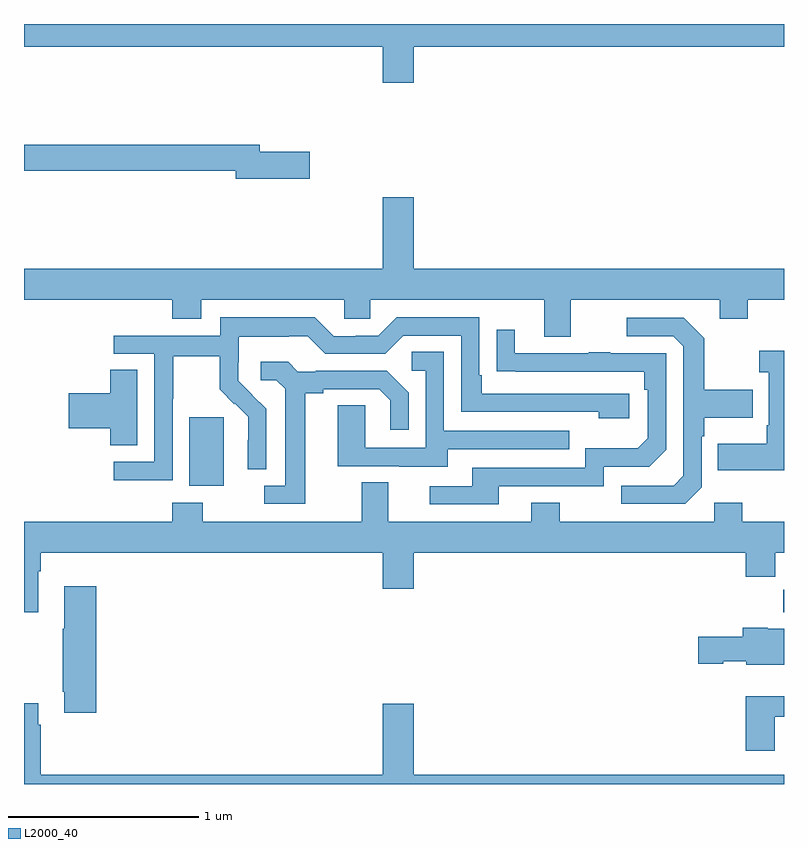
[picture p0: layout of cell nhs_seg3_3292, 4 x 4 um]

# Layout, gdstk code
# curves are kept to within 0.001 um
import gdstk
lib = gdstk.Library(unit=1e-6, precision=1e-09)
def R(c, l, rs):  # rectangles x0, y0, x1, y1
    for r in rs: c.add(gdstk.rectangle(r[:2], r[2:], *l))
def P(c, l, *ps):  # polygons
    for p in ps: c.add(gdstk.Polygon(p, *l))
L2000_40 = (2000, 40)

nhs_seg3_3292 = lib.new_cell('nhs_seg3_3292')
R(nhs_seg3_3292, L2000_40, [(286.996,667.304,287,667.423), (283.871,667.97,284.05,668.331)])
P(nhs_seg3_3292, L2000_40, [(285.052,670.28),(287,670.28),(287,670.4),(283,670.4),(283,670.28),(284.888,670.28),(284.888,670.092),(285.052,670.092)],
  [(284.503,669.728),(284.242,669.728),(284.242,669.764),(283,669.764),(283,669.628),(284.114,669.628),(284.114,669.586),(284.503,669.586)],
  [(285.877,668.948),(286.661,668.948),(286.661,668.849),(286.809,668.849),(286.809,668.948),(287,668.948),(287,669.112),(285.052,669.112),(285.052,669.487),(284.888,669.487),(284.888,669.112),(283,669.112),(283,668.948),(283.781,668.948),(283.781,668.849),(283.933,668.849),(283.933,668.948),(284.685,668.948),(284.685,668.85),(284.823,668.85),(284.823,668.948),(285.737,668.948),(285.737,668.754),(285.877,668.754)],
  [(283.782,668.428),(283.785,668.428),(283.785,668.652),(284.029,668.652),(284.029,668.477),(284.106,668.4),(284.109,668.403),(284.18,668.333),(284.18,668.21),(284.178,668.21),(284.178,668.056),(284.274,668.056),(284.274,668.374),(284.128,668.522),(284.128,668.619),(284.13,668.619),(284.13,668.753),(284.393,668.753),(284.393,668.757),(284.493,668.757),(284.586,668.664),(284.901,668.664),(284.997,668.76),(285.3,668.76),(285.3,668.358),(286.025,668.358),(286.025,668.324),(286.186,668.324),(286.186,668.454),(285.409,668.454),(285.409,668.551),(285.396,668.551),(285.396,668.856),(284.961,668.856),(284.865,668.76),(284.747,668.76),(284.747,668.757),(284.631,668.757),(284.531,668.857),(284.034,668.857),(284.034,668.76),(283.473,668.76),(283.473,668.664),(283.686,668.664),(283.686,668.097),(283.473,668.097),(283.473,667.999),(283.782,667.999)],
  [(286.566,667.962),(286.566,668.231),(286.579,668.231),(286.579,668.327),(286.835,668.327),(286.835,668.475),(286.579,668.475),(286.579,668.747),(286.473,668.853),(286.173,668.853),(286.173,668.757),(286.416,668.757),(286.47,668.703),(286.47,668.022),(286.419,667.971),(286.143,667.971),(286.143,667.875),(286.479,667.875)],
  [(285.499,667.968),(286.05,667.968),(286.05,668.07),(286.29,668.07),(286.38,668.16),(286.38,668.667),(286.085,668.667),(286.085,668.672),(285.973,668.672),(285.973,668.667),(285.583,668.667),(285.583,668.791),(285.487,668.791),(285.487,668.572),(286.264,668.571),(286.264,668.474),(286.284,668.474),(286.284,668.22),(286.231,668.167),(285.954,668.167),(285.954,668.064),(285.359,668.064),(285.359,667.968),(285.135,667.968),(285.135,667.872),(285.499,667.872)],
  [(287,668.68),(286.869,668.68),(286.869,668.567),(286.92,668.567),(286.92,668.287),(286.908,668.287),(286.908,668.191),(286.651,668.191),(286.651,668.051),(287,668.051)],
  [(285.229,668.163),(285.869,668.163),(285.869,668.259),(285.21,668.259),(285.21,668.675),(285.042,668.675),(285.042,668.574),(285.114,668.574),(285.114,668.169),(284.796,668.169),(284.796,668.393),(284.651,668.393),(284.651,668.073),(284.975,668.073),(284.975,668.069),(285.229,668.069)],
  [(284.479,668.456),(284.575,668.456),(284.575,668.478),(284.87,668.478),(284.927,668.421),(284.927,668.265),(285.024,668.265),(285.024,668.458),(284.908,668.574),(284.536,668.574),(284.536,668.571),(284.442,668.571),(284.39,668.623),(284.247,668.623),(284.247,668.526),(284.328,668.526),(284.375,668.479),(284.375,667.971),(284.265,667.971),(284.265,667.875),(284.479,667.875)],
  [(283.597,668.579),(283.454,668.579),(283.454,668.456),(283.236,668.456),(283.236,668.273),(283.454,668.273),(283.454,668.182),(283.597,668.182)],
  [(283.075,667.52),(283.088,667.52),(283.088,667.616),(284.888,667.616),(284.888,667.428),(285.052,667.428),(285.052,667.616),(286.799,667.616),(286.799,667.492),(286.955,667.492),(286.955,667.616),(287,667.616),(287,667.78),(286.779,667.78),(286.779,667.879),(286.632,667.879),(286.632,667.78),(285.819,667.78),(285.819,667.879),(285.671,667.879),(285.671,667.78),(284.917,667.78),(284.917,667.988),(284.777,667.988),(284.777,667.78),(283.941,667.78),(283.941,667.879),(283.781,667.879),(283.781,667.78),(283,667.78),(283,667.305),(283.075,667.305)],
  [(283.379,667.441),(283.211,667.441),(283.211,667.217),(283.204,667.217),(283.204,666.886),(283.211,666.886),(283.211,666.774),(283.379,666.774)],
  [(287,667.216),(286.914,667.216),(286.914,667.222),(286.784,667.222),(286.784,667.176),(286.548,667.176),(286.548,667.034),(286.68,667.034),(286.68,667.046),(286.8,667.046),(286.8,667.028),(287,667.028)],
  [(286.951,666.753),(287,666.753),(287,666.862),(286.799,666.862),(286.799,666.576),(286.951,666.576)],
  [(287,666.448),(285.052,666.448),(285.052,666.823),(284.888,666.823),(284.888,666.448),(283.088,666.448),(283.088,666.713),(283.075,666.713),(283.075,666.826),(283,666.826),(283,666.4),(287,666.4)])

lib.write_gds('nhs_seg3_3292.gds')
